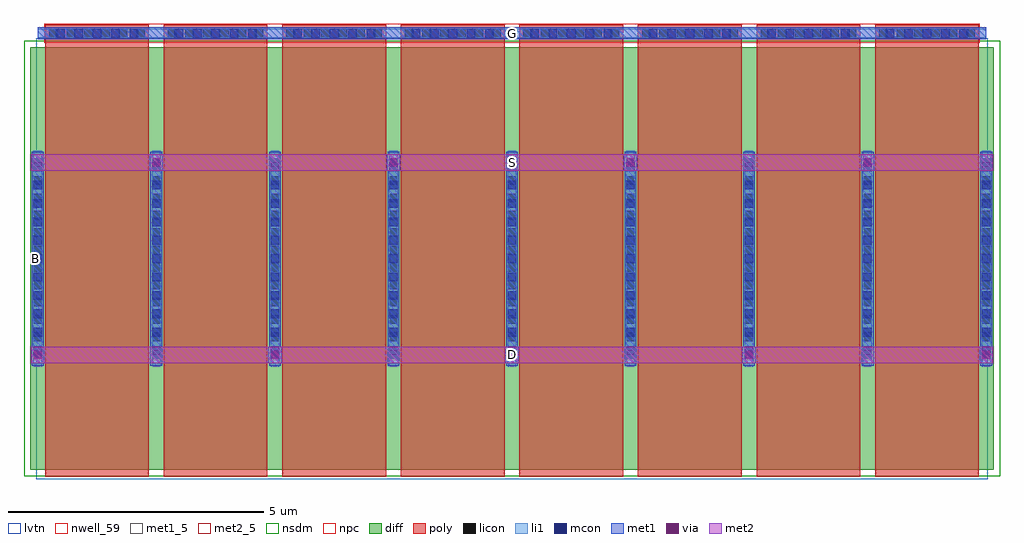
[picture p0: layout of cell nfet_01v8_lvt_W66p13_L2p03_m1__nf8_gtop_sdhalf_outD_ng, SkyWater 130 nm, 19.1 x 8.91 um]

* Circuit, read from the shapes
.subckt nfet_01v8_lvt_W66p13_L2p03_m1__nf8_gtop_sdhalf_outD_ng B D G S
XM1 S G D B sky130_fd_pr__nfet_01v8_lvt w=8.27 l=2.03 m=8
.ends

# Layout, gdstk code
import gdstk
lib = gdstk.Library(unit=1e-6, precision=1e-09)
def R(c, l, rs):  # rectangles x0, y0, x1, y1
    for r in rs: c.add(gdstk.rectangle(r[:2], r[2:], *l))
def A(c, l, x, y, w, h, nx, ny, dx, dy):  # array of equal rectangles
    R(c, l, [(x+i*dx, y+j*dy, x+i*dx+w, y+j*dy+h) for i in range(nx) for j in range(ny)])
nwell_59 = (64, 59)
diff = (65, 20)
poly = (66, 20)
licon = (66, 44)
li1 = (67, 20)
mcon = (67, 44)
met1_5 = (68, 5)
met1 = (68, 20)
via = (68, 44)
met2_5 = (69, 5)
met2 = (69, 20)
nsdm = (93, 44)
npc = (95, 20)
lvtn = (125, 44)

sky130_fd_pr__nfet_01v8_ = lib.new_cell('sky130_fd_pr__nfet_01v8_lvt_LGVQ6R')
R(sky130_fd_pr__nfet_01v8_, diff, [(-9.425,-4.29,9.425,3.98)])
A(sky130_fd_pr__nfet_01v8_, poly, -9.135, -4.42, 2.03, 8.84, 8, 1, 2.32, 0)
A(sky130_fd_pr__nfet_01v8_, licon, -9.365, -2.11, 0.17, 0.17, 9, 12, 2.32, 0.34)
A(sky130_fd_pr__nfet_01v8_, licon, -9.055, 4.17, 0.17, 0.17, 6, 1, 0.34, 0)
A(sky130_fd_pr__nfet_01v8_, licon, -6.735, 4.17, 0.17, 0.17, 6, 1, 0.34, 0)
A(sky130_fd_pr__nfet_01v8_, licon, -4.415, 4.17, 0.17, 0.17, 6, 1, 0.34, 0)
A(sky130_fd_pr__nfet_01v8_, licon, -2.095, 4.17, 0.17, 0.17, 6, 1, 0.34, 0)
A(sky130_fd_pr__nfet_01v8_, licon, 0.225, 4.17, 0.17, 0.17, 6, 1, 0.34, 0)
A(sky130_fd_pr__nfet_01v8_, licon, 2.545, 4.17, 0.17, 0.17, 6, 1, 0.34, 0)
A(sky130_fd_pr__nfet_01v8_, licon, 4.865, 4.17, 0.17, 0.17, 6, 1, 0.34, 0)
A(sky130_fd_pr__nfet_01v8_, licon, 7.185, 4.17, 0.17, 0.17, 6, 1, 0.34, 0)
A(sky130_fd_pr__nfet_01v8_, li1, -9.365, -2.27, 0.17, 4.23, 9, 1, 2.32, 0)
R(sky130_fd_pr__nfet_01v8_, li1, [(-9.28,4.17,9.28,4.34)])
A(sky130_fd_pr__nfet_01v8_, mcon, -9.365, -2.04, 0.17, 0.17, 9, 11, 2.32, 0.36)
A(sky130_fd_pr__nfet_01v8_, mcon, -8.925, 4.17, 0.17, 0.17, 5, 1, 0.36, 0)
A(sky130_fd_pr__nfet_01v8_, mcon, -6.605, 4.17, 0.17, 0.17, 5, 1, 0.36, 0)
A(sky130_fd_pr__nfet_01v8_, mcon, -4.285, 4.17, 0.17, 0.17, 5, 1, 0.36, 0)
A(sky130_fd_pr__nfet_01v8_, mcon, -1.965, 4.17, 0.17, 0.17, 5, 1, 0.36, 0)
A(sky130_fd_pr__nfet_01v8_, mcon, 0.355, 4.17, 0.17, 0.17, 5, 1, 0.36, 0)
A(sky130_fd_pr__nfet_01v8_, mcon, 2.675, 4.17, 0.17, 0.17, 5, 1, 0.36, 0)
A(sky130_fd_pr__nfet_01v8_, mcon, 4.995, 4.17, 0.17, 0.17, 5, 1, 0.36, 0)
A(sky130_fd_pr__nfet_01v8_, mcon, 7.315, 4.17, 0.17, 0.17, 5, 1, 0.36, 0)
A(sky130_fd_pr__nfet_01v8_, met1, -9.395, -2.25, 0.23, 4.19, 9, 1, 2.32, 0)
A(sky130_fd_pr__nfet_01v8_, met1, -9.115, 4.14, 1.99, 0.03, 8, 2, 2.32, 0.2)
R(sky130_fd_pr__nfet_01v8_, met1, [(-9.28,4.17,9.28,4.34)])
R(sky130_fd_pr__nfet_01v8_, nsdm, [(-9.55,-4.415,9.55,4.105)])
R(sky130_fd_pr__nfet_01v8_, npc, [(-9.155,4.07,9.155,4.44)])
R(sky130_fd_pr__nfet_01v8_, lvtn, [(-9.315,-4.47,9.315,4.16)])
sky130_fd_pr__nfet_01v8_.add(gdstk.Label('D0', (-9.28,-0.155), layer=67, texttype=5))
sky130_fd_pr__nfet_01v8_.add(gdstk.Label('G', (8.12,4.255), layer=67, texttype=5))
sky130_fd_pr__nfet_01v8_.add(gdstk.Label('G', (5.8,4.255), layer=67, texttype=5))
sky130_fd_pr__nfet_01v8_.add(gdstk.Label('G', (3.48,4.255), layer=67, texttype=5))
sky130_fd_pr__nfet_01v8_.add(gdstk.Label('G', (1.16,4.255), layer=67, texttype=5))
sky130_fd_pr__nfet_01v8_.add(gdstk.Label('G', (-1.16,4.255), layer=67, texttype=5))
sky130_fd_pr__nfet_01v8_.add(gdstk.Label('G', (-3.48,4.255), layer=67, texttype=5))
sky130_fd_pr__nfet_01v8_.add(gdstk.Label('G', (-5.8,4.255), layer=67, texttype=5))
sky130_fd_pr__nfet_01v8_.add(gdstk.Label('G', (-8.12,4.255), layer=67, texttype=5))
sky130_fd_pr__nfet_01v8_.add(gdstk.Label('S1', (-6.96,-0.155), layer=67, texttype=5))
sky130_fd_pr__nfet_01v8_.add(gdstk.Label('D2', (-4.64,-0.155), layer=67, texttype=5))
sky130_fd_pr__nfet_01v8_.add(gdstk.Label('S3', (-2.32,-0.155), layer=67, texttype=5))
sky130_fd_pr__nfet_01v8_.add(gdstk.Label('D4', (0,-0.155), layer=67, texttype=5))
sky130_fd_pr__nfet_01v8_.add(gdstk.Label('S5', (2.32,-0.155), layer=67, texttype=5))
sky130_fd_pr__nfet_01v8_.add(gdstk.Label('D6', (4.64,-0.155), layer=67, texttype=5))
sky130_fd_pr__nfet_01v8_.add(gdstk.Label('S7', (6.96,-0.155), layer=67, texttype=5))

nfet_01v8_lvt_w66p13_l2p = lib.new_cell('nfet_01v8_lvt_W66p13_L2p03_m1__nf8_gtop_sdhalf_outD_ng')
R(nfet_01v8_lvt_w66p13_l2p, nwell_59, [(0.05,4.215,0.15,4.315)])
R(nfet_01v8_lvt_w66p13_l2p, met1_5, [(0.145,8.56,18.705,8.79)])
A(nfet_01v8_lvt_w66p13_l2p, met1, 0.015, 2.22, 0.26, 0.32, 5, 1, 4.64, 0)
A(nfet_01v8_lvt_w66p13_l2p, met1, 2.335, 5.99, 0.26, 0.32, 4, 1, 4.64, 0)
R(nfet_01v8_lvt_w66p13_l2p, met1, [(0.145,8.56,18.705,8.79)])
A(nfet_01v8_lvt_w66p13_l2p, via, 0.07, 2.305, 0.15, 0.15, 5, 1, 4.64, 0)
A(nfet_01v8_lvt_w66p13_l2p, via, 2.39, 6.075, 0.15, 0.15, 4, 1, 4.64, 0)
R(nfet_01v8_lvt_w66p13_l2p, met2_5, [(0.01,2.22,18.84,2.54), (0.01,5.99,18.84,6.31)])
R(nfet_01v8_lvt_w66p13_l2p, met2, [(0.01,2.22,18.84,2.54), (0.01,5.99,18.84,6.31)])
nfet_01v8_lvt_w66p13_l2p.add(gdstk.Reference(sky130_fd_pr__nfet_01v8_, (9.425,4.42)))
nfet_01v8_lvt_w66p13_l2p.add(gdstk.Label('S', (9.425,6.15), layer=69, texttype=5))
nfet_01v8_lvt_w66p13_l2p.add(gdstk.Label('D', (9.425,2.38), layer=69, texttype=5))
nfet_01v8_lvt_w66p13_l2p.add(gdstk.Label('G', (9.425,8.675), layer=68, texttype=5))
nfet_01v8_lvt_w66p13_l2p.add(gdstk.Label('B', (0.1,4.265), layer=64, texttype=59))

lib.write_gds('nfet_01v8_lvt_W66p13_L2p03_m1__nf8_gtop_sdhalf_outD_ng.gds')
